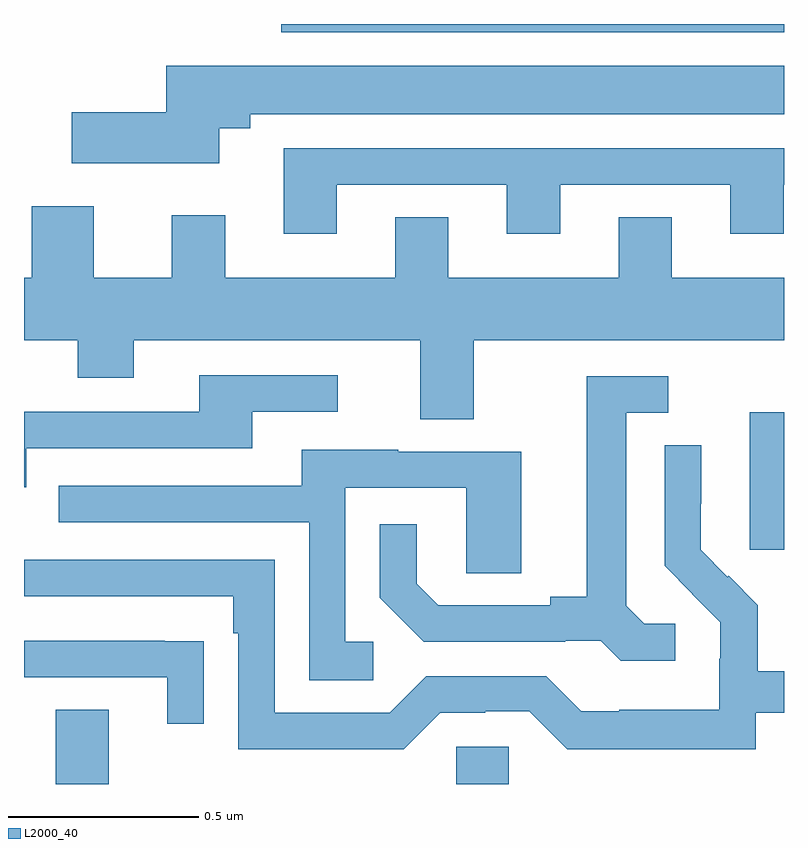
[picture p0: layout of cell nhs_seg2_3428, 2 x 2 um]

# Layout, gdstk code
import gdstk
lib = gdstk.Library(unit=1e-6, precision=1e-09)
def R(c, l, rs):  # rectangles x0, y0, x1, y1
    for r in rs: c.add(gdstk.rectangle(r[:2], r[2:], *l))
def P(c, l, *ps):  # polygons
    for p in ps: c.add(gdstk.Polygon(p, *l))
L2000_40 = (2000, 40)

nhs_seg2_3428 = lib.new_cell('nhs_seg2_3428')
R(nhs_seg2_3428, L2000_40, [(153.083,647.8,153.223,647.995), (154.137,647.8,154.275,647.898), (154.91,648.417,155,648.778), (153.677,649.778,155,649.8)])
P(nhs_seg2_3428, L2000_40, [(153.514,649.526),(153.595,649.526),(153.595,649.562),(155,649.562),(155,649.69),(153.374,649.69),(153.374,649.568),(153.126,649.568),(153.126,649.433),(153.514,649.433)],
  [(153.823,649.377),(154.271,649.377),(154.271,649.248),(154.411,649.248),(154.411,649.377),(154.859,649.377),(154.859,649.248),(154.999,649.248),(154.999,649.377),(155,649.377),(155,649.473),(153.683,649.473),(153.683,649.248),(153.823,649.248)],
  [(154.183,648.968),(155,648.968),(155,649.132),(154.705,649.132),(154.705,649.292),(154.565,649.292),(154.565,649.132),(154.117,649.132),(154.117,649.292),(153.977,649.292),(153.977,649.132),(153.529,649.132),(153.529,649.297),(153.389,649.297),(153.389,649.132),(153.184,649.132),(153.184,649.321),(153.02,649.321),(153.02,649.132),(153,649.132),(153,648.968),(153.142,648.968),(153.142,648.869),(153.289,648.869),(153.289,648.968),(154.043,648.968),(154.043,648.76),(154.183,648.76)],
  [(153.006,648.684),(153.601,648.684),(153.601,648.78),(153.826,648.78),(153.826,648.876),(153.461,648.876),(153.461,648.78),(153,648.78),(153,648.581),(153.006,648.581)],
  [(154.714,648.222),(154.632,648.222),(154.585,648.269),(154.585,648.777),(154.696,648.777),(154.696,648.873),(154.481,648.873),(154.481,648.293),(154.385,648.293),(154.385,648.27),(154.09,648.27),(154.033,648.327),(154.033,648.484),(153.936,648.484),(153.936,648.29),(154.052,648.174),(154.424,648.174),(154.424,648.177),(154.518,648.177),(154.57,648.125),(154.714,648.125)],
  [(154.926,647.988),(155,647.988),(155,648.097),(154.931,648.097),(154.931,648.271),(154.854,648.348),(154.851,648.345),(154.781,648.416),(154.781,648.538),(154.782,648.538),(154.782,648.692),(154.686,648.692),(154.686,648.374),(154.759,648.301),(154.758,648.3),(154.832,648.226),(154.832,648.129),(154.83,648.129),(154.83,647.995),(154.567,647.995),(154.567,647.991),(154.467,647.991),(154.374,648.084),(154.059,648.084),(153.963,647.988),(153.66,647.988),(153.66,648.39),(153,648.39),(153,648.294),(153.551,648.294),(153.551,648.197),(153.564,648.197),(153.564,647.892),(153.999,647.892),(154.095,647.988),(154.214,647.988),(154.214,647.991),(154.329,647.991),(154.429,647.891),(154.926,647.891)],
  [(153.919,648.174),(153.846,648.174),(153.846,648.579),(154.164,648.579),(154.164,648.355),(154.309,648.355),(154.309,648.675),(153.985,648.675),(153.985,648.679),(153.731,648.679),(153.731,648.585),(153.091,648.585),(153.091,648.489),(153.75,648.489),(153.75,648.073),(153.919,648.073)],
  [(153.473,648.176),(153.371,648.176),(153.371,648.177),(153,648.177),(153,648.081),(153.377,648.081),(153.377,647.958),(153.473,647.958)])

lib.write_gds('nhs_seg2_3428.gds')
